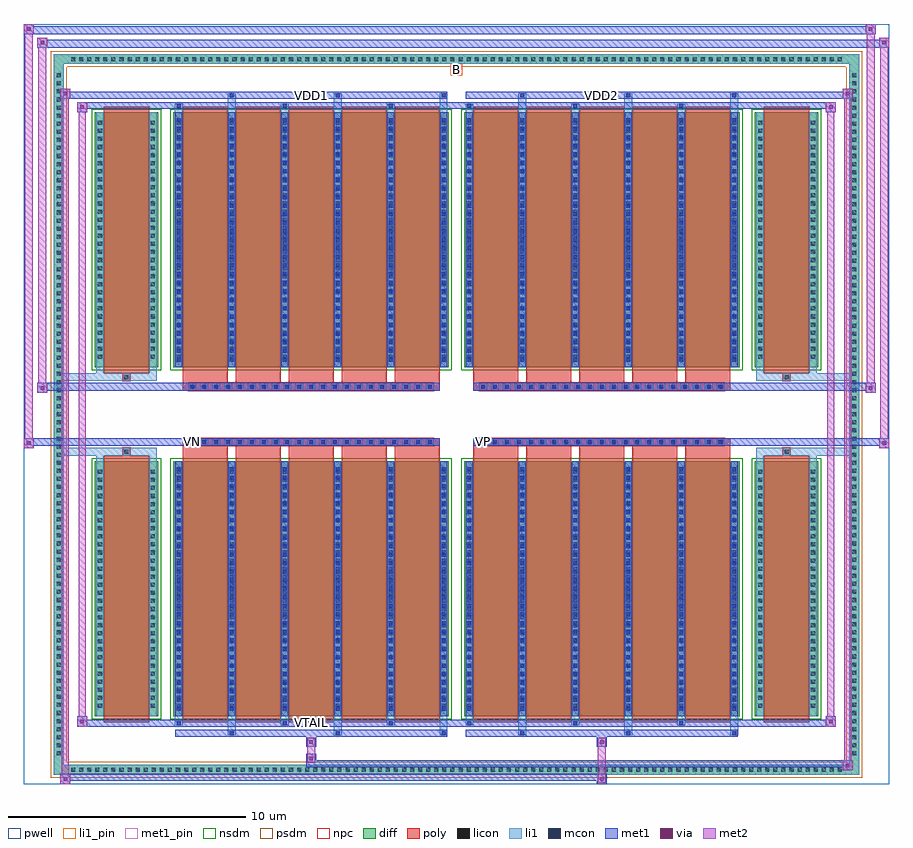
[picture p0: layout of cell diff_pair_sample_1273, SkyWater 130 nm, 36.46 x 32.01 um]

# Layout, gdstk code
import gdstk
lib = gdstk.Library(unit=1e-6, precision=5e-09)
def R(c, l, rs):  # rectangles x0, y0, x1, y1
    for r in rs: c.add(gdstk.rectangle(r[:2], r[2:], *l))
def A(c, l, x, y, w, h, nx, ny, dx, dy):  # array of equal rectangles
    R(c, l, [(x+i*dx, y+j*dy, x+i*dx+w, y+j*dy+h) for i in range(nx) for j in range(ny)])
def P(c, l, *ps):  # polygons
    for p in ps: c.add(gdstk.Polygon(p, *l))
pwell = (64, 44)
diff = (65, 20)
poly = (66, 20)
licon = (66, 44)
li1_pin = (67, 16)
li1 = (67, 20)
mcon = (67, 44)
met1_pin = (68, 16)
met1 = (68, 20)
via = (68, 44)
met2 = (69, 20)
nsdm = (93, 44)
psdm = (94, 20)
npc = (95, 20)

diff_pair_sample_1273 = lib.new_cell('diff_pair_sample_1273')
R(diff_pair_sample_1273, pwell, [(-18.23,-15.57,18.23,16.44), (-15.55,-13.76,-0.01,-0.8), (0.01,-13.76,15.55,-0.8), (-15.55,0.8,-0.01,13.76), (0.01,0.8,15.55,13.76)])
A(diff_pair_sample_1273, diff, -16.355, -15.17, 0.41, 0.41, 96, 2, 0.34, 29.93)
A(diff_pair_sample_1273, diff, -16.96, -14.485, 0.41, 0.41, 1, 85, 0, 0.34)
A(diff_pair_sample_1273, diff, 16.55, -14.485, 0.41, 0.41, 1, 85, 0, 0.34)
R(diff_pair_sample_1273, diff, [(-16.355,-15.17,16.355,-14.76), (-16.96,-14.485,-16.55,14.485), (16.55,-14.485,16.96,14.485), (-15.24,-12.715,-12.56,-1.985), (-11.92,-12.715,-0.32,-1.985), (0.32,-12.715,11.92,-1.985), (12.56,-12.715,15.24,-1.985), (-15.24,1.985,-12.56,12.715), (-11.92,1.985,-0.32,12.715), (0.32,1.985,11.92,12.715), (12.56,1.985,15.24,12.715), (-16.355,14.76,16.355,15.17)])
P(diff_pair_sample_1273, diff, [(16.96,15.17),(-16.96,15.17),(-16.96,-14.76),(-16.55,-14.76),(-16.55,14.76),(16.55,14.76),(16.55,-14.76),(-16.55,-14.76),(-16.96,-14.76),(-16.96,-15.17),(16.96,-15.17)])
A(diff_pair_sample_1273, poly, -11.53, -12.965, 1.9, 11.23, 5, 2, 2.23, 14.7)
A(diff_pair_sample_1273, poly, 0.71, -12.965, 1.9, 11.23, 5, 2, 2.23, 14.7)
A(diff_pair_sample_1273, poly, -11.53, -1.735, 1.9, 0.405, 5, 2, 2.23, 3.065)
A(diff_pair_sample_1273, poly, 0.71, -1.735, 1.9, 0.405, 5, 2, 2.23, 3.065)
A(diff_pair_sample_1273, poly, -11.285, -1.33, 0.33, 0.33, 21, 2, 0.5, 2.33)
A(diff_pair_sample_1273, poly, 0.955, -1.33, 0.33, 0.33, 21, 2, 0.5, 2.33)
R(diff_pair_sample_1273, poly, [(-14.85,-12.965,-12.95,-1.735), (12.95,-12.965,14.85,-1.735), (-14.065,-1.735,-13.735,-1.405), (-14.065,-1.735,-13.735,-1.405), (13.735,-1.735,14.065,-1.405), (13.735,-1.735,14.065,-1.405), (-11.53,-1.33,-0.71,-1), (0.71,-1.33,11.53,-1), (-11.53,1,-0.71,1.33), (0.71,1,11.53,1.33), (-14.065,1.405,-13.735,1.735), (-14.065,1.405,-13.735,1.735), (13.735,1.405,14.065,1.735), (13.735,1.405,14.065,1.735), (-14.85,1.735,-12.95,12.965), (12.95,1.735,14.85,12.965)])
A(diff_pair_sample_1273, licon, -16.235, -15.05, 0.17, 0.17, 96, 2, 0.34, 29.93)
A(diff_pair_sample_1273, licon, -16.84, -14.365, 0.17, 0.17, 1, 85, 0, 0.34)
A(diff_pair_sample_1273, licon, 16.67, -14.365, 0.17, 0.17, 1, 85, 0, 0.34)
A(diff_pair_sample_1273, licon, -15.1, -12.365, 0.17, 0.17, 1, 30, 0, 0.34)
A(diff_pair_sample_1273, licon, -12.87, -12.365, 0.17, 0.17, 1, 30, 0, 0.34)
A(diff_pair_sample_1273, licon, -11.78, -12.365, 0.17, 0.17, 6, 30, 2.23, 0.34)
A(diff_pair_sample_1273, licon, 0.46, -12.365, 0.17, 0.17, 6, 30, 2.23, 0.34)
A(diff_pair_sample_1273, licon, 12.7, -12.365, 0.17, 0.17, 1, 30, 0, 0.34)
A(diff_pair_sample_1273, licon, 14.93, -12.365, 0.17, 0.17, 1, 30, 0, 0.34)
A(diff_pair_sample_1273, licon, -11.205, -1.25, 0.17, 0.17, 21, 2, 0.5, 2.33)
A(diff_pair_sample_1273, licon, 1.035, -1.25, 0.17, 0.17, 21, 2, 0.5, 2.33)
A(diff_pair_sample_1273, licon, -15.1, 2.335, 0.17, 0.17, 1, 30, 0, 0.34)
A(diff_pair_sample_1273, licon, -12.87, 2.335, 0.17, 0.17, 1, 30, 0, 0.34)
A(diff_pair_sample_1273, licon, -11.78, 2.335, 0.17, 0.17, 6, 30, 2.23, 0.34)
A(diff_pair_sample_1273, licon, 0.46, 2.335, 0.17, 0.17, 6, 30, 2.23, 0.34)
A(diff_pair_sample_1273, licon, 12.7, 2.335, 0.17, 0.17, 1, 30, 0, 0.34)
A(diff_pair_sample_1273, licon, 14.93, 2.335, 0.17, 0.17, 1, 30, 0, 0.34)
R(diff_pair_sample_1273, licon, [(-13.985,-1.655,-13.815,-1.485), (13.815,-1.655,13.985,-1.485), (-13.985,1.485,-13.815,1.655), (13.815,1.485,13.985,1.655)])
R(diff_pair_sample_1273, li1_pin, [(-0.25,14.26,0.25,14.76)])
A(diff_pair_sample_1273, li1, -16.315, -15.13, 0.33, 0.33, 96, 2, 0.34, 29.93)
A(diff_pair_sample_1273, li1, -16.92, -14.445, 0.33, 0.33, 1, 85, 0, 0.34)
A(diff_pair_sample_1273, li1, 16.59, -14.445, 0.33, 0.33, 1, 85, 0, 0.34)
A(diff_pair_sample_1273, li1, -9.63, -13.52, 0.33, 0.805, 3, 2, 4.46, 26.235)
A(diff_pair_sample_1273, li1, -9.55, -13.52, 0.17, 0.17, 3, 2, 4.46, 26.87)
A(diff_pair_sample_1273, li1, 2.61, -13.52, 0.33, 0.805, 3, 2, 4.46, 26.235)
A(diff_pair_sample_1273, li1, 2.69, -13.52, 0.17, 0.17, 3, 2, 4.46, 26.87)
A(diff_pair_sample_1273, li1, -11.86, -13.09, 0.33, 0.375, 3, 2, 4.46, 25.805)
A(diff_pair_sample_1273, li1, -11.78, -13.09, 0.17, 0.17, 3, 2, 4.46, 26.01)
A(diff_pair_sample_1273, li1, 0.38, -13.09, 0.33, 0.375, 3, 2, 4.46, 25.805)
A(diff_pair_sample_1273, li1, 0.46, -13.09, 0.17, 0.17, 3, 2, 4.46, 26.01)
A(diff_pair_sample_1273, li1, -11.86, -12.715, 0.33, 10.73, 6, 2, 2.23, 14.7)
A(diff_pair_sample_1273, li1, 0.38, -12.715, 0.33, 10.73, 6, 2, 2.23, 14.7)
A(diff_pair_sample_1273, li1, -11.78, -12.475, 0.17, 0.17, 6, 29, 2.23, 0.36)
A(diff_pair_sample_1273, li1, -11.78, -12.475, 0.17, 10.25, 6, 2, 2.23, 14.7)
A(diff_pair_sample_1273, li1, 0.46, -12.475, 0.17, 0.17, 6, 29, 2.23, 0.36)
A(diff_pair_sample_1273, li1, 0.46, -12.475, 0.17, 10.25, 6, 2, 2.23, 14.7)
A(diff_pair_sample_1273, li1, -15.18, -12.445, 0.33, 0.33, 1, 30, 0, 0.34)
A(diff_pair_sample_1273, li1, -12.95, -12.445, 0.33, 0.33, 1, 30, 0, 0.34)
A(diff_pair_sample_1273, li1, -11.86, -12.445, 0.33, 0.33, 6, 30, 2.23, 0.34)
A(diff_pair_sample_1273, li1, 0.38, -12.445, 0.33, 0.33, 6, 30, 2.23, 0.34)
A(diff_pair_sample_1273, li1, 12.62, -12.445, 0.33, 0.33, 1, 30, 0, 0.34)
A(diff_pair_sample_1273, li1, 14.85, -12.445, 0.33, 0.33, 1, 30, 0, 0.34)
A(diff_pair_sample_1273, li1, -11.285, -1.33, 0.33, 0.33, 21, 2, 0.5, 2.33)
A(diff_pair_sample_1273, li1, 0.955, -1.33, 0.33, 0.33, 21, 2, 0.5, 2.33)
A(diff_pair_sample_1273, li1, -11.78, 2.225, 0.17, 0.17, 6, 29, 2.23, 0.36)
A(diff_pair_sample_1273, li1, 0.46, 2.225, 0.17, 0.17, 6, 29, 2.23, 0.36)
A(diff_pair_sample_1273, li1, -15.18, 2.255, 0.33, 0.33, 1, 30, 0, 0.34)
A(diff_pair_sample_1273, li1, -12.95, 2.255, 0.33, 0.33, 1, 30, 0, 0.34)
A(diff_pair_sample_1273, li1, -11.86, 2.255, 0.33, 0.33, 6, 30, 2.23, 0.34)
A(diff_pair_sample_1273, li1, 0.38, 2.255, 0.33, 0.33, 6, 30, 2.23, 0.34)
A(diff_pair_sample_1273, li1, 12.62, 2.255, 0.33, 0.33, 1, 30, 0, 0.34)
A(diff_pair_sample_1273, li1, 14.85, 2.255, 0.33, 0.33, 1, 30, 0, 0.34)
R(diff_pair_sample_1273, li1, [(-16.96,-15.17,-16.55,-14.76), (-16.96,-15.17,-16.55,-14.76), (-16.55,-15.17,16.55,-14.76), (16.55,-15.17,16.96,-14.76), (16.55,-15.17,16.96,-14.76), (-16.96,-14.76,-16.55,14.76), (16.55,-14.76,16.96,14.76), (-15.18,-12.715,-14.85,-1.985), (-12.95,-12.715,-12.62,-1.985), (12.62,-12.715,12.95,-1.985), (14.85,-12.715,15.18,-1.985), (-15.18,-1.985,-14.85,-1.405), (-12.95,-1.985,-12.62,-1.405), (12.62,-1.985,12.95,-1.405), (14.85,-1.985,15.18,-1.405), (-16.96,-1.735,-14.065,-1.405), (-15.18,-1.735,-14.065,-1.405), (-14.065,-1.735,-13.735,-1.405), (-13.735,-1.735,-12.62,-1.405), (12.62,-1.735,13.735,-1.405), (13.735,-1.735,14.065,-1.405), (13.735,-1.735,16.96,-1.405), (14.065,-1.735,15.18,-1.405), (-16.96,1.405,-14.065,1.735), (-15.18,1.405,-14.065,1.735), (-15.18,1.405,-14.85,1.985), (-14.065,1.405,-13.735,1.735), (-13.735,1.405,-12.62,1.735), (-12.95,1.405,-12.62,1.985), (12.62,1.405,13.735,1.735), (12.62,1.405,12.95,1.985), (13.735,1.405,14.065,1.735), (13.735,1.405,16.96,1.735), (14.065,1.405,15.18,1.735), (14.85,1.405,15.18,1.985), (-15.18,1.985,-14.85,12.715), (-12.95,1.985,-12.62,12.715), (12.62,1.985,12.95,12.715), (14.85,1.985,15.18,12.715), (-16.96,14.76,-16.55,15.17), (-16.96,14.76,-16.55,15.17), (-16.55,14.76,16.55,15.17), (16.55,14.76,16.96,15.17), (16.55,14.76,16.96,15.17)])
A(diff_pair_sample_1273, mcon, -9.55, -13.52, 0.17, 0.17, 3, 2, 4.46, 26.87)
A(diff_pair_sample_1273, mcon, 2.69, -13.52, 0.17, 0.17, 3, 2, 4.46, 26.87)
A(diff_pair_sample_1273, mcon, -11.78, -13.09, 0.17, 0.17, 3, 2, 4.46, 26.01)
A(diff_pair_sample_1273, mcon, 0.46, -13.09, 0.17, 0.17, 3, 2, 4.46, 26.01)
A(diff_pair_sample_1273, mcon, -11.78, -12.475, 0.17, 0.17, 6, 29, 2.23, 0.36)
A(diff_pair_sample_1273, mcon, 0.46, -12.475, 0.17, 0.17, 6, 29, 2.23, 0.36)
A(diff_pair_sample_1273, mcon, -11.205, -1.25, 0.17, 0.17, 21, 2, 0.5, 2.33)
A(diff_pair_sample_1273, mcon, 1.035, -1.25, 0.17, 0.17, 21, 2, 0.5, 2.33)
A(diff_pair_sample_1273, mcon, -11.78, 2.225, 0.17, 0.17, 6, 29, 2.23, 0.36)
A(diff_pair_sample_1273, mcon, 0.46, 2.225, 0.17, 0.17, 6, 29, 2.23, 0.36)
R(diff_pair_sample_1273, met1_pin, [(-6.255,-13.13,-5.985,-12.86), (-11.255,-1.29,-10.985,-1.02), (0.985,-1.29,1.255,-1.02), (-6.255,13.31,-5.985,13.58), (5.985,13.31,6.255,13.58)])
A(diff_pair_sample_1273, met1, -9.61, -13.58, 0.29, 0.29, 3, 2, 4.46, 26.87)
A(diff_pair_sample_1273, met1, 2.63, -13.58, 0.29, 0.29, 3, 2, 4.46, 26.87)
A(diff_pair_sample_1273, met1, -11.84, -13.15, 0.29, 0.29, 3, 2, 4.46, 26.01)
A(diff_pair_sample_1273, met1, 0.4, -13.15, 0.29, 0.29, 3, 2, 4.46, 26.01)
A(diff_pair_sample_1273, met1, -11.84, -12.715, 0.29, 10.73, 6, 2, 2.23, 14.7)
A(diff_pair_sample_1273, met1, 0.4, -12.715, 0.29, 10.73, 6, 2, 2.23, 14.7)
A(diff_pair_sample_1273, met1, -11.84, -12.535, 0.29, 0.29, 6, 29, 2.23, 0.36)
A(diff_pair_sample_1273, met1, 0.4, -12.535, 0.29, 0.29, 6, 29, 2.23, 0.36)
A(diff_pair_sample_1273, met1, -11.265, -1.31, 0.29, 0.29, 21, 2, 0.5, 2.33)
A(diff_pair_sample_1273, met1, 0.975, -1.31, 0.29, 0.29, 21, 2, 0.5, 2.33)
A(diff_pair_sample_1273, met1, -11.84, 2.165, 0.29, 0.29, 6, 29, 2.23, 0.36)
A(diff_pair_sample_1273, met1, 0.4, 2.165, 0.29, 0.29, 6, 29, 2.23, 0.36)
R(diff_pair_sample_1273, met1, [(-16.69,-15.57,-16.26,-15.14), (5.905,-15.57,6.335,-15.14), (-16.69,-15.43,6.335,-15.14), (16.26,-15,16.69,-14.57), (-6.335,-14.86,16.69,-14.57), (-6.335,-14.72,-5.905,-14.29), (-6.335,-14.01,-5.905,-13.58), (5.905,-14.01,6.335,-13.58), (-11.84,-13.58,-0.4,-13.29), (0.4,-13.58,11.84,-13.29), (-15.98,-13.15,-15.55,-12.72), (-15.98,-13.15,-11.84,-12.86), (-11.84,-13.15,-0.4,-12.86), (-0.4,-13.15,0.4,-12.86), (0.4,-13.15,11.84,-12.86), (11.84,-13.15,15.98,-12.86), (15.55,-13.15,15.98,-12.72), (-18.23,-1.43,-17.8,-1), (17.8,-1.43,18.23,-1), (-18.23,-1.33,-0.71,-1), (-11.53,-1.33,-0.71,-1), (0.71,-1.33,11.53,-1), (0.71,-1.33,18.23,-1), (-17.66,0.9,-17.23,1.33), (17.23,0.9,17.66,1.33), (-17.66,1,-11.53,1.33), (-11.53,1,-0.71,1.33), (0.71,1,11.53,1.33), (11.53,1,17.66,1.33), (-15.98,12.72,-15.55,13.15), (15.55,12.72,15.98,13.15), (-15.98,12.86,-11.84,13.15), (-11.84,12.86,-0.4,13.15), (-0.4,12.86,0.4,13.15), (0.4,12.86,11.84,13.15), (11.84,12.86,15.98,13.15), (-16.69,13.29,-16.26,13.72), (-16.69,13.29,-11.84,13.58), (-11.84,13.29,-0.4,13.58), (0.4,13.29,11.84,13.58), (11.84,13.29,16.69,13.58), (16.26,13.29,16.69,13.72), (-17.66,15.44,-17.23,15.87), (-17.66,15.44,-15.55,15.77), (-15.55,15.44,15.55,15.77), (15.55,15.44,18.23,15.77), (17.8,15.44,18.23,15.87), (-18.23,16.01,-17.8,16.44), (-18.23,16.01,-15.55,16.34), (-15.55,16.01,15.55,16.34), (15.55,16.01,17.66,16.34), (17.23,16.01,17.66,16.44)])
R(diff_pair_sample_1273, via, [(-16.55,-15.43,-16.4,-15.28), (6.045,-15.43,6.195,-15.28), (16.4,-14.86,16.55,-14.71), (-6.195,-14.58,-6.045,-14.43), (-6.195,-13.87,-6.045,-13.72), (6.045,-13.87,6.195,-13.72), (-15.84,-13.01,-15.69,-12.86), (15.69,-13.01,15.84,-12.86), (-18.09,-1.29,-17.94,-1.14), (17.94,-1.29,18.09,-1.14), (-17.52,1.04,-17.37,1.19), (17.37,1.04,17.52,1.19), (-15.84,12.86,-15.69,13.01), (15.69,12.86,15.84,13.01), (-16.55,13.43,-16.4,13.58), (16.4,13.43,16.55,13.58), (-17.52,15.58,-17.37,15.73), (17.94,15.58,18.09,15.73), (-18.09,16.15,-17.94,16.3), (17.37,16.15,17.52,16.3)])
R(diff_pair_sample_1273, met2, [(-16.69,-15.57,-16.26,-15.14), (-16.62,-15.57,-16.33,13.72), (-16.33,-15.57,-16.26,-15.14), (-16.64,-15.52,-16.31,-15.19), (5.955,-15.52,6.285,-15.19), (5.955,-15.19,6.285,-13.96), (16.26,-15,16.69,-14.57), (16.33,-15,16.62,13.72), (16.62,-15,16.69,-14.57), (16.31,-14.95,16.64,-14.62), (-6.285,-14.67,-5.955,-14.34), (-6.285,-14.34,-5.955,-13.96), (-6.285,-13.96,-5.955,-13.63), (5.955,-13.96,6.285,-13.63), (-15.98,-13.15,-15.55,-12.72), (-15.91,-13.15,-15.62,13.15), (-15.62,-13.15,-15.55,-12.72), (15.55,-13.15,15.98,-12.72), (15.62,-13.15,15.91,13.15), (15.91,-13.15,15.98,-12.72), (-15.93,-13.1,-15.6,-12.77), (15.6,-13.1,15.93,-12.77), (-18.23,-1.43,-17.8,-1), (-18.18,-1.43,-17.85,16.44), (-17.85,-1.43,-17.8,-1), (17.8,-1.43,18.23,-1), (17.85,-1.43,18.18,15.87), (18.18,-1.43,18.23,-1), (-18.18,-1.38,-17.85,-1.05), (17.85,-1.38,18.18,-1.05), (-17.66,0.9,-17.23,1.33), (-17.61,0.9,-17.28,15.87), (-17.28,0.9,-17.23,1.33), (17.23,0.9,17.66,1.33), (17.28,0.9,17.61,16.44), (17.61,0.9,17.66,1.33), (-17.61,0.95,-17.28,1.28), (17.28,0.95,17.61,1.28), (-15.98,12.72,-15.55,13.15), (-15.62,12.72,-15.55,13.15), (15.55,12.72,15.98,13.15), (15.91,12.72,15.98,13.15), (-15.93,12.77,-15.6,13.1), (15.6,12.77,15.93,13.1), (-16.69,13.29,-16.26,13.72), (-16.33,13.29,-16.26,13.72), (16.26,13.29,16.69,13.72), (16.62,13.29,16.69,13.72), (-16.64,13.34,-16.31,13.67), (16.31,13.34,16.64,13.67), (-17.66,15.44,-17.23,15.87), (-17.28,15.44,-17.23,15.87), (17.8,15.44,18.23,15.87), (18.18,15.44,18.23,15.87), (-17.61,15.49,-17.28,15.82), (17.85,15.49,18.18,15.82), (-18.23,16.01,-17.8,16.44), (-17.85,16.01,-17.8,16.44), (17.23,16.01,17.66,16.44), (17.61,16.01,17.66,16.44), (-18.18,16.06,-17.85,16.39), (17.28,16.06,17.61,16.39)])
R(diff_pair_sample_1273, nsdm, [(-15.37,-12.845,-12.43,-1.855), (-12.05,-12.845,-0.19,-1.855), (0.19,-12.845,12.05,-1.855), (12.43,-12.845,15.37,-1.855), (-15.37,1.855,-12.43,12.845), (-12.05,1.855,-0.19,12.845), (0.19,1.855,12.05,12.845), (12.43,1.855,15.37,12.845)])
P(diff_pair_sample_1273, psdm, [(17.09,15.3),(-17.09,15.3),(-17.09,-14.63),(-16.42,-14.63),(-16.42,14.63),(16.42,14.63),(16.42,-14.63),(-16.42,-14.63),(-17.09,-14.63),(-17.09,-15.3),(17.09,-15.3)])
A(diff_pair_sample_1273, npc, -11.305, -1.35, 0.37, 0.37, 21, 2, 0.5, 2.33)
A(diff_pair_sample_1273, npc, 0.935, -1.35, 0.37, 0.37, 21, 2, 0.5, 2.33)
R(diff_pair_sample_1273, npc, [(-14.085,-1.755,-13.715,-1.385), (13.715,-1.755,14.085,-1.385), (-11.305,-1.35,-10.435,-0.98), (-11.305,-1.35,-10.435,-0.98), (-10.805,-1.35,-9.935,-0.98), (-10.805,-1.35,-9.935,-0.98), (-10.305,-1.35,-9.435,-0.98), (-10.305,-1.35,-9.435,-0.98), (-9.805,-1.35,-8.935,-0.98), (-9.805,-1.35,-8.935,-0.98), (-9.305,-1.35,-8.435,-0.98), (-9.305,-1.35,-8.435,-0.98), (-8.805,-1.35,-7.935,-0.98), (-8.805,-1.35,-7.935,-0.98), (-8.305,-1.35,-7.435,-0.98), (-8.305,-1.35,-7.435,-0.98), (-7.805,-1.35,-6.935,-0.98), (-7.805,-1.35,-6.935,-0.98), (-7.305,-1.35,-6.435,-0.98), (-7.305,-1.35,-6.435,-0.98), (-6.805,-1.35,-5.935,-0.98), (-6.805,-1.35,-5.935,-0.98), (-6.305,-1.35,-5.435,-0.98), (-6.305,-1.35,-5.435,-0.98), (-5.805,-1.35,-4.935,-0.98), (-5.805,-1.35,-4.935,-0.98), (-5.305,-1.35,-4.435,-0.98), (-5.305,-1.35,-4.435,-0.98), (-4.805,-1.35,-3.935,-0.98), (-4.805,-1.35,-3.935,-0.98), (-4.305,-1.35,-3.435,-0.98), (-4.305,-1.35,-3.435,-0.98), (-3.805,-1.35,-2.935,-0.98), (-3.805,-1.35,-2.935,-0.98), (-3.305,-1.35,-2.435,-0.98), (-3.305,-1.35,-2.435,-0.98), (-2.805,-1.35,-1.935,-0.98), (-2.805,-1.35,-1.935,-0.98), (-2.305,-1.35,-1.435,-0.98), (-2.305,-1.35,-1.435,-0.98), (-1.805,-1.35,-0.935,-0.98), (-1.805,-1.35,-0.935,-0.98), (0.935,-1.35,1.805,-0.98), (0.935,-1.35,1.805,-0.98), (1.435,-1.35,2.305,-0.98), (1.435,-1.35,2.305,-0.98), (1.935,-1.35,2.805,-0.98), (1.935,-1.35,2.805,-0.98), (2.435,-1.35,3.305,-0.98), (2.435,-1.35,3.305,-0.98), (2.935,-1.35,3.805,-0.98), (2.935,-1.35,3.805,-0.98), (3.435,-1.35,4.305,-0.98), (3.435,-1.35,4.305,-0.98), (3.935,-1.35,4.805,-0.98), (3.935,-1.35,4.805,-0.98), (4.435,-1.35,5.305,-0.98), (4.435,-1.35,5.305,-0.98), (4.935,-1.35,5.805,-0.98), (4.935,-1.35,5.805,-0.98), (5.435,-1.35,6.305,-0.98), (5.435,-1.35,6.305,-0.98), (5.935,-1.35,6.805,-0.98), (5.935,-1.35,6.805,-0.98), (6.435,-1.35,7.305,-0.98), (6.435,-1.35,7.305,-0.98), (6.935,-1.35,7.805,-0.98), (6.935,-1.35,7.805,-0.98), (7.435,-1.35,8.305,-0.98), (7.435,-1.35,8.305,-0.98), (7.935,-1.35,8.805,-0.98), (7.935,-1.35,8.805,-0.98), (8.435,-1.35,9.305,-0.98), (8.435,-1.35,9.305,-0.98), (8.935,-1.35,9.805,-0.98), (8.935,-1.35,9.805,-0.98), (9.435,-1.35,10.305,-0.98), (9.435,-1.35,10.305,-0.98), (9.935,-1.35,10.805,-0.98), (9.935,-1.35,10.805,-0.98), (10.435,-1.35,11.305,-0.98), (10.435,-1.35,11.305,-0.98), (-11.305,0.98,-10.435,1.35), (-11.305,0.98,-10.435,1.35), (-10.805,0.98,-9.935,1.35), (-10.805,0.98,-9.935,1.35), (-10.305,0.98,-9.435,1.35), (-10.305,0.98,-9.435,1.35), (-9.805,0.98,-8.935,1.35), (-9.805,0.98,-8.935,1.35), (-9.305,0.98,-8.435,1.35), (-9.305,0.98,-8.435,1.35), (-8.805,0.98,-7.935,1.35), (-8.805,0.98,-7.935,1.35), (-8.305,0.98,-7.435,1.35), (-8.305,0.98,-7.435,1.35), (-7.805,0.98,-6.935,1.35), (-7.805,0.98,-6.935,1.35), (-7.305,0.98,-6.435,1.35), (-7.305,0.98,-6.435,1.35), (-6.805,0.98,-5.935,1.35), (-6.805,0.98,-5.935,1.35), (-6.305,0.98,-5.435,1.35), (-6.305,0.98,-5.435,1.35), (-5.805,0.98,-4.935,1.35), (-5.805,0.98,-4.935,1.35), (-5.305,0.98,-4.435,1.35), (-5.305,0.98,-4.435,1.35), (-4.805,0.98,-3.935,1.35), (-4.805,0.98,-3.935,1.35), (-4.305,0.98,-3.435,1.35), (-4.305,0.98,-3.435,1.35), (-3.805,0.98,-2.935,1.35), (-3.805,0.98,-2.935,1.35), (-3.305,0.98,-2.435,1.35), (-3.305,0.98,-2.435,1.35), (-2.805,0.98,-1.935,1.35), (-2.805,0.98,-1.935,1.35), (-2.305,0.98,-1.435,1.35), (-2.305,0.98,-1.435,1.35), (-1.805,0.98,-0.935,1.35), (-1.805,0.98,-0.935,1.35), (0.935,0.98,1.805,1.35), (0.935,0.98,1.805,1.35), (1.435,0.98,2.305,1.35), (1.435,0.98,2.305,1.35), (1.935,0.98,2.805,1.35), (1.935,0.98,2.805,1.35), (2.435,0.98,3.305,1.35), (2.435,0.98,3.305,1.35), (2.935,0.98,3.805,1.35), (2.935,0.98,3.805,1.35), (3.435,0.98,4.305,1.35), (3.435,0.98,4.305,1.35), (3.935,0.98,4.805,1.35), (3.935,0.98,4.805,1.35), (4.435,0.98,5.305,1.35), (4.435,0.98,5.305,1.35), (4.935,0.98,5.805,1.35), (4.935,0.98,5.805,1.35), (5.435,0.98,6.305,1.35), (5.435,0.98,6.305,1.35), (5.935,0.98,6.805,1.35), (5.935,0.98,6.805,1.35), (6.435,0.98,7.305,1.35), (6.435,0.98,7.305,1.35), (6.935,0.98,7.805,1.35), (6.935,0.98,7.805,1.35), (7.435,0.98,8.305,1.35), (7.435,0.98,8.305,1.35), (7.935,0.98,8.805,1.35), (7.935,0.98,8.805,1.35), (8.435,0.98,9.305,1.35), (8.435,0.98,9.305,1.35), (8.935,0.98,9.805,1.35), (8.935,0.98,9.805,1.35), (9.435,0.98,10.305,1.35), (9.435,0.98,10.305,1.35), (9.935,0.98,10.805,1.35), (9.935,0.98,10.805,1.35), (10.435,0.98,11.305,1.35), (10.435,0.98,11.305,1.35), (-14.085,1.385,-13.715,1.755), (13.715,1.385,14.085,1.755)])
diff_pair_sample_1273.add(gdstk.Label('VTAIL', (-6.12,-12.995), layer=68, texttype=5))
diff_pair_sample_1273.add(gdstk.Label('VN', (-11.12,-1.155), layer=68, texttype=5))
diff_pair_sample_1273.add(gdstk.Label('VP', (1.12,-1.155), layer=68, texttype=5))
diff_pair_sample_1273.add(gdstk.Label('B', (0,14.51), layer=67, texttype=5))
diff_pair_sample_1273.add(gdstk.Label('VDD2', (6.12,13.445), layer=68, texttype=5))
diff_pair_sample_1273.add(gdstk.Label('VDD1', (-6.12,13.445), layer=68, texttype=5))

lib.write_gds('diff_pair_sample_1273.gds')
